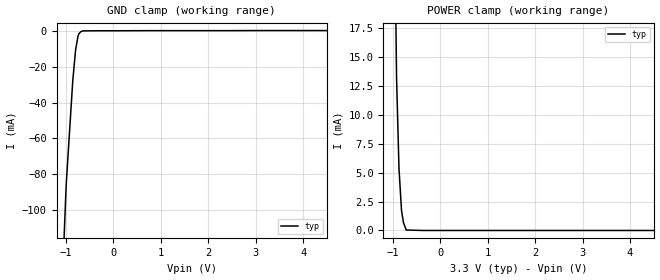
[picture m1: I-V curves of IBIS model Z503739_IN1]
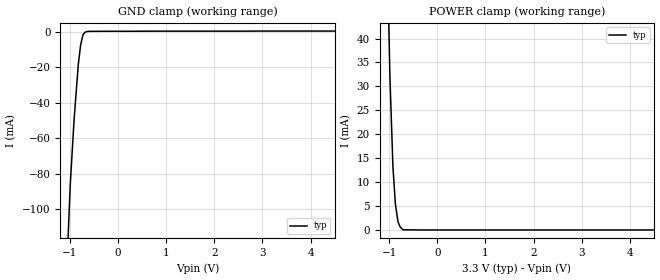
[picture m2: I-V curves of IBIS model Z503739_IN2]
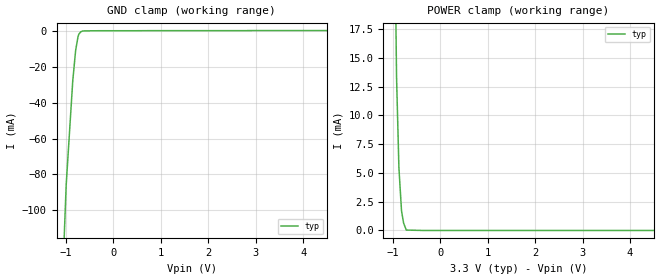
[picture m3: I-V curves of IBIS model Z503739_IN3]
| YOU ARE ONLY AUTHORIZED TO USE THIS SOFTWARE
| ACCORDING TO LICENSOR'S LICENSE RESTRICTIONS.
[IBIS Ver] 3.1
[File Name] mc74ac153n_33.ibs
[File Rev] 2.0
[Source] Measured and created by ICX Technology
[Date] Friday 7/14/00 9:07:58 AM
[Copyright]
| (C) COPYRIGHT 1993-2000
| MENTOR GRAPHICS CORPORATION
| ICX STANDARD LIBRARY, ICX PROJECT MODELING,
| ICX CUSTOM MODELING, ICX VENDOR MODEL
| ALL RIGHTS RESERVED.
| THE FOLLOWING ARE TRADEMARKS OR SERVICE MARKS OF
| MENTOR GRAPHICS CORPORATION:ICX (R), ICX STANDARD
| LIBRARY(R), ICX PROJECT MODELING(R), ICX CUSTOM
| MODELING(R), qualityIBIS(TM), MODELVIEWER(TM),
| AND MODELEDITOR(TM)
| ALL COPIES OF SOFTWARE, INCLUDING BUT NOT LIMITED TO
| ANY MODIFICATIONS, ENHANCEMENTS OR DERIVATIVE WORKS,
| MUST CONTAIN ALL MENTOR GRAPHICS CORPORATION'S
| NOTICES AND LEGENDS, INCLUDING THOSE EMBEDDED IN
| SOFTWARE AND THOSE AFFIXED TO SOFTWARE MEDIUM
| AND CONTAINER, AS RECEIVED FROM MENTOR GRAPHICS
| CORPORATION.
|  ZAP Model Builder 2.7
[Component] MC74AC153N_33
[Manufacturer] OnSemiconductor
[Package]
| variable   typ   min   max
R_pkg  .212ohms NA NA
L_pkg  4.758nH NA NA
C_pkg  1.143pF NA NA
[Pin] signal_name  model_name  R_pin  L_pin C_pin
1 _EA Z503739_IN1 .224 7.258n 1.578p
2 S1 Z503739_IN2 .216 5.258n 1.288p
3 I3A Z503739_IN3 .208 3.758n .998p
4 I2A Z503739_IN3 .2 2.758n .708p
5 I1A Z503739_IN3 .2 2.758n .708p
6 I0A Z503739_IN3 .208 3.758n .998p
7 ZA Z503739_OUT4 .216 5.258n 1.288p
8 GND GND .224 7.258n 1.578p
9 ZB Z503739_OUT4 .224 7.258n 1.578p
10 IOB Z503739_IN3 .216 5.258n 1.288p
11 I1B Z503739_IN3 .208 3.758n .998p
12 I2B Z503739_IN3 .2 2.758n .708p
13 I3B Z503739_IN3 .2 2.758n .708p
14 S0 Z503739_IN2 .208 3.758n .998p
15 _EB Z503739_IN1 .216 5.258n 1.288p
16 VCC POWER .224 7.258n 1.578p
| Models and submodels in the file (4): Z503739_IN1 (Input), Z503739_IN2 (Input), Z503739_IN3 (Input), Z503739_OUT4 (Output)
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| (C) COPYRIGHT 1993-2000
| MENTOR GRAPHICS CORPORATION
| ICX STANDARD LIBRARY, ICX PROJECT MODELING,
| ICX CUSTOM MODELING, ICX VENDOR MODEL
| ALL RIGHTS RESERVED.
| THE FOLLOWING ARE TRADEMARKS OR SERVICE MARKS OF
| MENTOR GRAPHICS CORPORATION:ICX (R), ICX STANDARD
| LIBRARY(R), ICX PROJECT MODELING(R), ICX CUSTOM
| MODELING(R), qualityIBIS(TM), MODELVIEWER(TM),
| AND MODELEDITOR(TM)
| ALL COPIES OF SOFTWARE, INCLUDING BUT NOT LIMITED TO
| ANY MODIFICATIONS, ENHANCEMENTS OR DERIVATIVE WORKS,
| MUST CONTAIN ALL MENTOR GRAPHICS CORPORATION'S
| NOTICES AND LEGENDS, INCLUDING THOSE EMBEDDED IN
| SOFTWARE AND THOSE AFFIXED TO SOFTWARE MEDIUM
| AND CONTAINER, AS RECEIVED FROM MENTOR GRAPHICS
| CORPORATION.
| Model Application Version 1.89 2/18/99.
[Model] Z503739_IN1
Model_type Input
Vinl = 990.0mV
Vinh = 2.310V
C_comp 4.000pF NA NA
| variable typ   min   max
[Voltage Range] 3.300V NA NA
[GND Clamp Reference] 0.000V NA NA
[POWER Clamp Reference] 3.300V NA NA
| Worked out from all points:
|   GND clamp passes 1 mA (typ) near -0.71 V on its own axis
|   POWER clamp passes 1 mA (typ) near -0.79 V on its own axis
[GND Clamp]
-3.3V     -1.612A    NA         NA
-995.8mV  -85.75mA   NA         NA
-858.2mV  -28.02mA   NA         NA
-798.2mV  -10.59mA   NA         NA
-747.4mV  -2.885mA   NA         NA
-730.9mV  -1.607mA   NA         NA
-667.5mV  -112.1uA   NA         NA
6.6V      264uA      NA         NA
[POWER Clamp]
-3.3V     1.771A     NA         NA
-1.134V   115.8mA    NA         NA
-1.012V   43.92mA    NA         NA
-923mV    13.28mA    NA         NA
-872mV    5.404mA    NA         NA
-818mV    1.716mA    NA         NA
-776mV    653.7uA    NA         NA
-718mV    39.5uA     NA         NA
-359mV    0A         NA         NA
6.6V      0A         NA         NA
| (C) COPYRIGHT 1993-2000
| MENTOR GRAPHICS CORPORATION
| ICX STANDARD LIBRARY, ICX PROJECT MODELING,
| ICX CUSTOM MODELING, ICX VENDOR MODEL
| ALL RIGHTS RESERVED.
| THE FOLLOWING ARE TRADEMARKS OR SERVICE MARKS OF
| MENTOR GRAPHICS CORPORATION:ICX (R), ICX STANDARD
| LIBRARY(R), ICX PROJECT MODELING(R), ICX CUSTOM
| MODELING(R), qualityIBIS(TM), MODELVIEWER(TM),
| AND MODELEDITOR(TM)
| ALL COPIES OF SOFTWARE, INCLUDING BUT NOT LIMITED TO
| ANY MODIFICATIONS, ENHANCEMENTS OR DERIVATIVE WORKS,
| MUST CONTAIN ALL MENTOR GRAPHICS CORPORATION'S
| NOTICES AND LEGENDS, INCLUDING THOSE EMBEDDED IN
| SOFTWARE AND THOSE AFFIXED TO SOFTWARE MEDIUM
| AND CONTAINER, AS RECEIVED FROM MENTOR GRAPHICS
| CORPORATION.
| Model Application Version 1.89 2/18/99.
[Model] Z503739_IN2
Model_type Input
Vinl = 990.0mV
Vinh = 2.310V
C_comp 4.000pF NA NA
| variable typ   min   max
[Voltage Range] 3.300V NA NA
[GND Clamp Reference] 0.000V NA NA
[POWER Clamp Reference] 3.300V NA NA
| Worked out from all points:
|   GND clamp passes 1 mA (typ) near -0.71 V on its own axis
|   POWER clamp passes 1 mA (typ) near -0.79 V on its own axis
[GND Clamp]
-3.3V     -1.602A    NA         NA
-995.6mV  -85.84mA   NA         NA
-917.1mV  -49.84mA   NA         NA
-829.5mV  -18.73mA   NA         NA
-781.3mV  -7.676mA   NA         NA
-730.9mV  -1.783mA   NA         NA
-687.2mV  -378.1uA   NA         NA
-610.2mV  104.1uA    NA         NA
-305.1mV  152.7uA    NA         NA
6.6V      267.3uA    NA         NA
[POWER Clamp]
-3.3V     1.763A     NA         NA
-1.134V   115.7mA    NA         NA
-1.025V   49.97mA    NA         NA
-986mV    31.97mA    NA         NA
-924mV    13.28mA    NA         NA
-873mV    5.443mA    NA         NA
-818mV    1.717mA    NA         NA
-776mV    662.8uA    NA         NA
-718mV    40.2uA     NA         NA
-359mV    0A         NA         NA
6.6V      0A         NA         NA
| (C) COPYRIGHT 1993-2000
| MENTOR GRAPHICS CORPORATION
| ICX STANDARD LIBRARY, ICX PROJECT MODELING,
| ICX CUSTOM MODELING, ICX VENDOR MODEL
| ALL RIGHTS RESERVED.
| THE FOLLOWING ARE TRADEMARKS OR SERVICE MARKS OF
| MENTOR GRAPHICS CORPORATION:ICX (R), ICX STANDARD
| LIBRARY(R), ICX PROJECT MODELING(R), ICX CUSTOM
| MODELING(R), qualityIBIS(TM), MODELVIEWER(TM),
| AND MODELEDITOR(TM)
| ALL COPIES OF SOFTWARE, INCLUDING BUT NOT LIMITED TO
| ANY MODIFICATIONS, ENHANCEMENTS OR DERIVATIVE WORKS,
| MUST CONTAIN ALL MENTOR GRAPHICS CORPORATION'S
| NOTICES AND LEGENDS, INCLUDING THOSE EMBEDDED IN
| SOFTWARE AND THOSE AFFIXED TO SOFTWARE MEDIUM
| AND CONTAINER, AS RECEIVED FROM MENTOR GRAPHICS
| CORPORATION.
| Model Application Version 1.89 2/18/99.
[Model] Z503739_IN3
Model_type Input
Vinl = 990.0mV
Vinh = 2.310V
C_comp 4.000pF NA NA
| variable typ   min   max
[Voltage Range] 3.300V NA NA
[GND Clamp Reference] 0.000V NA NA
[POWER Clamp Reference] 3.300V NA NA
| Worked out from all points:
|   GND clamp passes 1 mA (typ) near -0.71 V on its own axis
|   POWER clamp passes 1 mA (typ) near -0.79 V on its own axis
[GND Clamp]
-3.3V     -1.689A    NA         NA
-995.9mV  -85.66mA   NA         NA
-858.4mV  -28mA      NA         NA
-797.3mV  -10.81mA   NA         NA
-747.1mV  -3.19mA    NA         NA
-730.5mV  -1.782mA   NA         NA
-687.4mV  -383.1uA   NA         NA
-610.3mV  104.5uA    NA         NA
-305.2mV  173.5uA    NA         NA
6.6V      273.1uA    NA         NA
[POWER Clamp]
-3.3V     1.865A     NA         NA
-1.143V   126mA      NA         NA
-1.011V   44.53mA    NA         NA
-923mV    13.37mA    NA         NA
-873mV    5.447mA    NA         NA
-818mV    1.709mA    NA         NA
-775mV    658.3uA    NA         NA
-718mV    35.6uA     NA         NA
-359mV    0A         NA         NA
6.6V      0A         NA         NA
